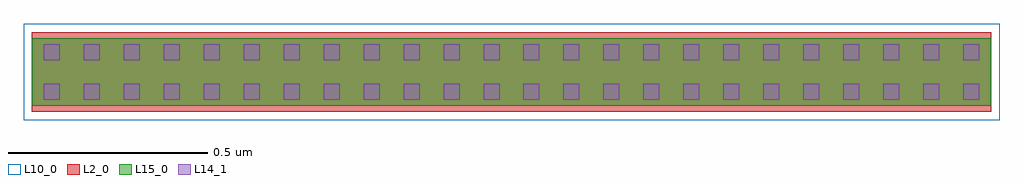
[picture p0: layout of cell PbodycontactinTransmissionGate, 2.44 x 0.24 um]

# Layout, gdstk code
import gdstk
lib = gdstk.Library(unit=1e-6, precision=1e-09)
def R(c, l, rs):  # rectangles x0, y0, x1, y1
    for r in rs: c.add(gdstk.rectangle(r[:2], r[2:], *l))
def A(c, l, x, y, w, h, nx, ny, dx, dy):  # array of equal rectangles
    R(c, l, [(x+i*dx, y+j*dy, x+i*dx+w, y+j*dy+h) for i in range(nx) for j in range(ny)])
L2_0 = (2, 0)
L10_0 = (10, 0)
L14_1 = (14, 1)
L15_0 = (15, 0)

pbodycontactintransmissi = lib.new_cell('PbodycontactinTransmissionGate')
R(pbodycontactintransmissi, L2_0, [(-1.2,-0.1,1.2,0.1)])
R(pbodycontactintransmissi, L10_0, [(-1.221,-0.121,1.221,0.121)])
A(pbodycontactintransmissi, L14_1, -1.17, -0.07, 0.04, 0.04, 24, 2, 0.1, 0.1)
R(pbodycontactintransmissi, L15_0, [(-1.2,-0.085,1.2,0.085)])

lib.write_gds('PbodycontactinTransmissionGate.gds')
